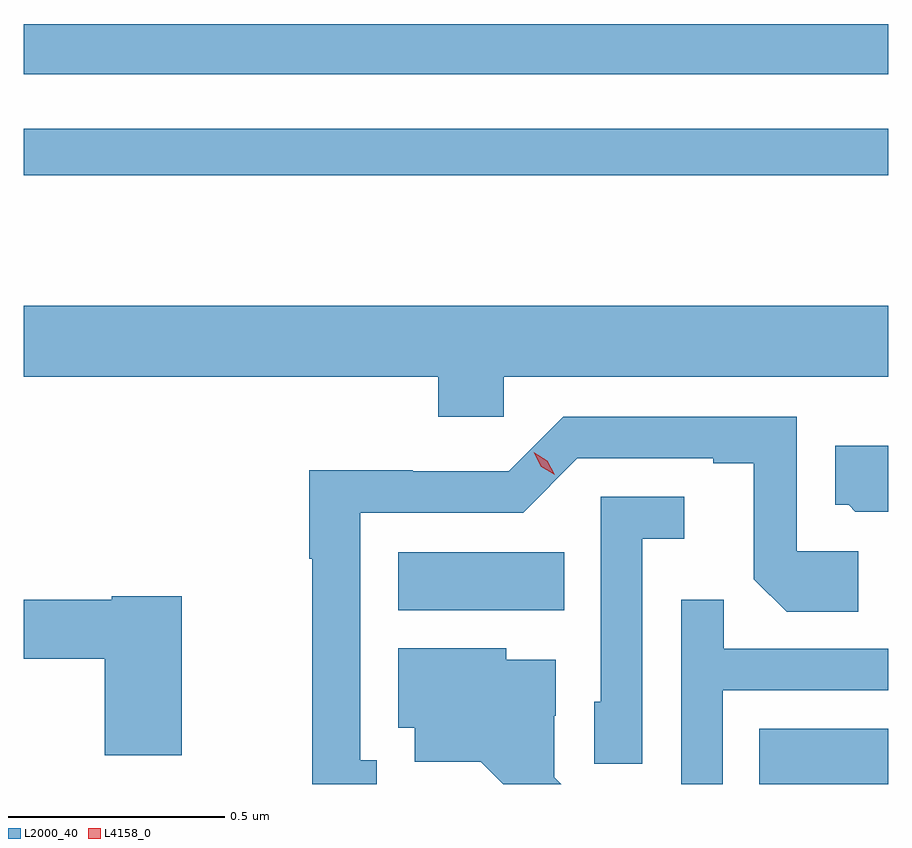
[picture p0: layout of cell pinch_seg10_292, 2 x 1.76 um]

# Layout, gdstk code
import gdstk
lib = gdstk.Library(unit=1e-6, precision=1e-09)
def R(c, l, rs):  # rectangles x0, y0, x1, y1
    for r in rs: c.add(gdstk.rectangle(r[:2], r[2:], *l))
def P(c, l, *ps):  # polygons
    for p in ps: c.add(gdstk.Polygon(p, *l))
L2000_40 = (2000, 40)
L4158_0 = (4158, 0)

pinch_seg10_292 = lib.new_cell('pinch_seg10_292')
R(pinch_seg10_292, L2000_40, [(504.508,1311.362,504.806,1311.49), (503.672,1311.764,504.056,1311.898), (502.806,1312.77,504.806,1312.878), (502.806,1313.004,504.806,1313.12)])
P(pinch_seg10_292, L2000_40, [(503.916,1312.304),(504.806,1312.304),(504.806,1312.468),(502.806,1312.468),(502.806,1312.304),(503.765,1312.304),(503.765,1312.211),(503.916,1312.211)],
  [(503.623,1311.417),(503.584,1311.417),(503.584,1311.99),(503.961,1311.99),(504.087,1312.116),(504.401,1312.116),(504.401,1312.104),(504.495,1312.104),(504.495,1311.836),(504.571,1311.76),(504.736,1311.76),(504.736,1311.9),(504.594,1311.9),(504.594,1312.212),(504.054,1312.212),(503.928,1312.086),(503.706,1312.086),(503.706,1312.088),(503.466,1312.088),(503.466,1311.883),(503.473,1311.883),(503.473,1311.362),(503.623,1311.362)],
  [(504.806,1312.144),(504.683,1312.144),(504.683,1312.008),(504.714,1312.008),(504.73,1311.992),(504.806,1311.992)],
  [(504.237,1311.929),(504.334,1311.929),(504.334,1312.026),(504.141,1312.026),(504.141,1311.552),(504.126,1311.552),(504.126,1311.409),(504.237,1311.409)],
  [(503.172,1311.796),(503.01,1311.796),(503.01,1311.788),(502.806,1311.788),(502.806,1311.652),(502.994,1311.652),(502.994,1311.429),(503.172,1311.429)],
  [(504.423,1311.579),(504.806,1311.579),(504.806,1311.675),(504.425,1311.675),(504.425,1311.788),(504.327,1311.788),(504.327,1311.362),(504.423,1311.362)],
  [(504.033,1311.378),(504.033,1311.52),(504.037,1311.52),(504.037,1311.649),(503.922,1311.649),(503.922,1311.676),(503.672,1311.676),(503.672,1311.492),(503.711,1311.492),(503.711,1311.413),(503.863,1311.413),(503.915,1311.362),(504.049,1311.362)])
P(pinch_seg10_292, L4158_0, [(504.034,1312.077),(504.003,1312.096),(503.986,1312.129),(503.986,1312.129),(503.986,1312.129),(504.017,1312.11),(504.035,1312.077),(504.035,1312.077)])

lib.write_gds('pinch_seg10_292.gds')
